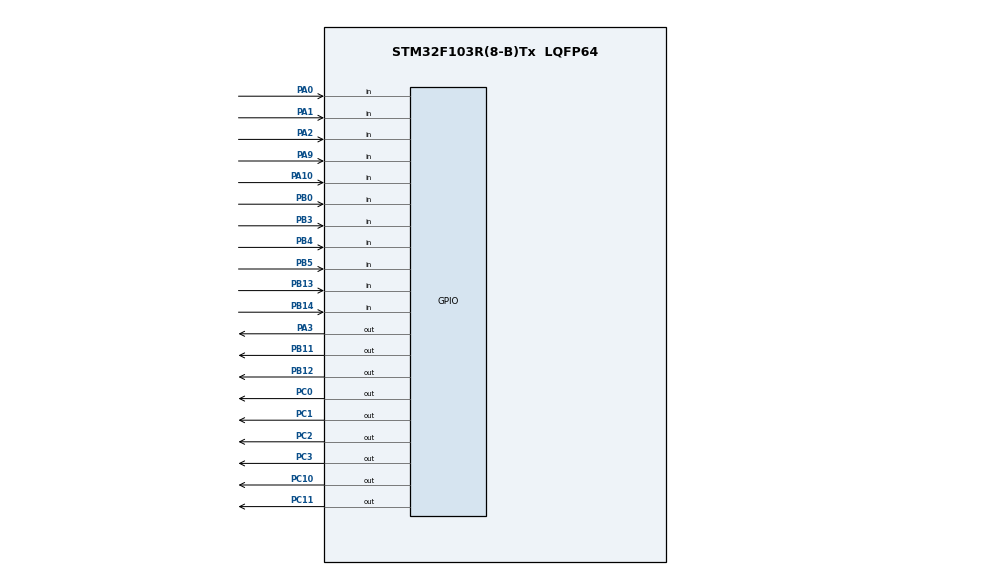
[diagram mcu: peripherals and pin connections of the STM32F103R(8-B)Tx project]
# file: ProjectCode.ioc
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Mcu.Family=STM32F1
FREERTOS.Queues01=motionToMovement,3,uint16_t,0,Dynamic,NULL,NULL;movementToleds,16,uint16_t,0,Dynamic,NULL,NULL
FREERTOS.Tasks01=detectMotion,24,128,StartdetectMotion,Default,NULL,Dynamic,NULL,NULL;RobotMovement,24,128,StartRobotMovement,Default,NULL,Dynamic,NULL,NULL;LedsandBuzzer,24,128,StartLedsandBuzzer,Default,NULL,Dynamic,NULL,NULL
PC10.Signal=GPIO_Output
PC11.Signal=GPIO_Output
PC2.Signal=GPIO_Output
NVIC.TIM1_UP_IRQn=true\:0\:0\:false\:false\:true\:false\:false\:true
PC0.Signal=GPIO_Output
PB11.Signal=GPIO_Output
PB13.Signal=GPIO_Input
VP_SYS_VS_ND.Mode=No_Debug
ProjectManager.StackSize=0x400
PA0-WKUP.Signal=GPIO_Input
VP_FREERTOS_VS_CMSIS_V2.Mode=CMSIS_V2
ProjectManager.TargetToolchain=STM32CubeIDE
PA9.Signal=GPIO_Input
PC3.Signal=GPIO_Output
PA1.Signal=GPIO_Input
PB14.Signal=GPIO_Input
board=custom
RCC.APB2Freq_Value=8000000
VP_SYS_VS_tim1.Mode=TIM1
Mcu.Name=STM32F103R(8-B)Tx
PA2.Signal=GPIO_Input
PB3.Signal=GPIO_Input
Mcu.Package=LQFP64
PB5.Signal=GPIO_Input
NVIC.TimeBase=TIM1_UP_IRQn
NVIC.TimeBaseIP=TIM1
PA10.Signal=GPIO_Input
ProjectManager.HeapSize=0x200
NVIC.PriorityGroup=NVIC_PRIORITYGROUP_4
RCC.APB1Freq_Value=8000000
PB0.Signal=GPIO_Input
PC1.Signal=GPIO_Output
PB12.Signal=GPIO_Output
PB4.Signal=GPIO_Input
PA3.Signal=GPIO_Output

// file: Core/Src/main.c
/* USER CODE BEGIN Header */
/**
 ******************************************************************************
 * @file           : main.c
 * @brief          : Main program body
 ******************************************************************************
 * @attention
 *
 * <h2><center>&copy; Copyright (c) 2021 STMicroelectronics.
 * All rights reserved.</center></h2>
 *
 * This software component is licensed by ST under BSD 3-Clause license,
 * the "License"; You may not use this file except in compliance with the
 * License. You may obtain a copy of the License at:
 *                        opensource.org/licenses/BSD-3-Clause
 *
 ******************************************************************************
 */
/* USER CODE END Header */
#include "main.h"
#include "cmsis_os.h"

/* Definitions for detectMotion */
osThreadId_t detectMotionHandle;
const osThreadAttr_t detectMotion_attributes = {
  .name = "detectMotion",
  .stack_size = 128 * 4,
  .priority = (osPriority_t) osPriorityNormal,
};
/* Definitions for RobotMovement */
osThreadId_t RobotMovementHandle;
const osThreadAttr_t RobotMovement_attributes = {
  .name = "RobotMovement",
  .stack_size = 128 * 4,
  .priority = (osPriority_t) osPriorityNormal,
};
/* Definitions for LedsandBuzzer */
osThreadId_t LedsandBuzzerHandle;
const osThreadAttr_t LedsandBuzzer_attributes = {
  .name = "LedsandBuzzer",
  .stack_size = 128 * 4,
  .priority = (osPriority_t) osPriorityNormal,
};
/* Definitions for motionToMovement */
osMessageQueueId_t motionToMovementHandle;
const osMessageQueueAttr_t motionToMovement_attributes = {
  .name = "motionToMovement"
};
/* Definitions for movementToleds */
osMessageQueueId_t movementToledsHandle;
const osMessageQueueAttr_t movementToleds_attributes = {
  .name = "movementToleds"
};
/* USER CODE BEGIN PV */
//monitiors the state of the motion sensors
//0 - sensors have not been activated
//1 - sensors have been activated
uint8_t mtnSnsrsState = 0.01;
/* USER CODE END PV */

void SystemClock_Config(void);
static void MX_GPIO_Init(void);
void StartdetectMotion(void *argument);
void StartRobotMovement(void *argument);
void StartLedsandBuzzer(void *argument);

/* USER CODE BEGIN PFP */
void MotorsL_Fw(void);
void MotorsL_Rv(void);
void MotorsR_Fw(void);
void MotorsR_Rv(void);
void Motors_Stp(void);
void Delay(uint32_t count);

uint16_t ultraSonicF(void);
uint16_t ultraSonicR(void);
uint16_t ultraSonicL(void);
uint16_t ultraSonicB(void);

int state = 1;//shows the state the robot is in
// 1 default state robot waits 5 minutes before turning on light
// 2 Robot can move
// 3 Robot stops to check surroundings

int turning = 0;//used to show is the robot is turning

const uint32_t motorDelay = 0.01;

/* USER CODE END PFP */

int main(void)
{

  /* MCU Configuration--------------------------------------------------------*/

  /* Reset of all peripherals, Initializes the Flash interface and the Systick. */
  HAL_Init();

  /* Configure the system clock */
  SystemClock_Config();

  /* Initialize all configured peripherals */
  MX_GPIO_Init();

  /* Init scheduler */
  osKernelInitialize();

  /* Create the queue(s) */
  /* creation of motionToMovement */
  motionToMovementHandle = osMessageQueueNew (3, sizeof(uint16_t), &motionToMovement_attributes);

  /* creation of movementToleds */
  movementToledsHandle = osMessageQueueNew (16, sizeof(uint16_t), &movementToleds_attributes);

  /* Create the thread(s) */
  /* creation of detectMotion */
  detectMotionHandle = osThreadNew(StartdetectMotion, NULL, &detectMotion_attributes);

  /* creation of RobotMovement */
  RobotMovementHandle = osThreadNew(StartRobotMovement, NULL, &RobotMovement_attributes);

  /* creation of LedsandBuzzer */
  LedsandBuzzerHandle = osThreadNew(StartLedsandBuzzer, NULL, &LedsandBuzzer_attributes);

  /* Start scheduler */
  osKernelStart();

  /* We should never get here as control is now taken by the scheduler */
  /* Infinite loop */
	while (1) {

	}
}

void SystemClock_Config(void)
{
  RCC_OscInitTypeDef RCC_OscInitStruct = {0};
  RCC_ClkInitTypeDef RCC_ClkInitStruct = {0};

  /** Initializes the RCC Oscillators according to the specified parameters
  * in the RCC_OscInitTypeDef structure.
  */
  RCC_OscInitStruct.OscillatorType = RCC_OSCILLATORTYPE_HSI;
  RCC_OscInitStruct.HSIState = RCC_HSI_ON;
  RCC_OscInitStruct.HSICalibrationValue = RCC_HSICALIBRATION_DEFAULT;
  RCC_OscInitStruct.PLL.PLLState = RCC_PLL_NONE;
  if (HAL_RCC_OscConfig(&RCC_OscInitStruct) != HAL_OK)
  {
    Error_Handler();
  }
  /** Initializes the CPU, AHB and APB buses clocks
  */
  RCC_ClkInitStruct.ClockType = RCC_CLOCKTYPE_HCLK|RCC_CLOCKTYPE_SYSCLK
                              |RCC_CLOCKTYPE_PCLK1|RCC_CLOCKTYPE_PCLK2;
  RCC_ClkInitStruct.SYSCLKSource = RCC_SYSCLKSOURCE_HSI;
  RCC_ClkInitStruct.AHBCLKDivider = RCC_SYSCLK_DIV1;
  RCC_ClkInitStruct.APB1CLKDivider = RCC_HCLK_DIV1;
  RCC_ClkInitStruct.APB2CLKDivider = RCC_HCLK_DIV1;

  if (HAL_RCC_ClockConfig(&RCC_ClkInitStruct, FLASH_LATENCY_0) != HAL_OK)
  {
    Error_Handler();
  }
}

static void MX_GPIO_Init(void)
{
  GPIO_InitTypeDef GPIO_InitStruct = {0};

  /* GPIO Ports Clock Enable */
  __HAL_RCC_GPIOC_CLK_ENABLE();
  __HAL_RCC_GPIOA_CLK_ENABLE();
  __HAL_RCC_GPIOB_CLK_ENABLE();

  /*Configure GPIO pin Output Level */
  HAL_GPIO_WritePin(GPIOC, GPIO_PIN_0|GPIO_PIN_1|GPIO_PIN_2|GPIO_PIN_3
                          |GPIO_PIN_10|GPIO_PIN_11, GPIO_PIN_RESET);

  /*Configure GPIO pin Output Level */
  HAL_GPIO_WritePin(GPIOA, GPIO_PIN_3, GPIO_PIN_RESET);

  /*Configure GPIO pin Output Level */
  HAL_GPIO_WritePin(GPIOB, GPIO_PIN_11|GPIO_PIN_12, GPIO_PIN_RESET);

  /*Configure GPIO pins : PC0 PC1 PC2 PC3
                           PC10 PC11 */
  GPIO_InitStruct.Pin = GPIO_PIN_0|GPIO_PIN_1|GPIO_PIN_2|GPIO_PIN_3
                          |GPIO_PIN_10|GPIO_PIN_11;
  GPIO_InitStruct.Mode = GPIO_MODE_OUTPUT_PP;
  GPIO_InitStruct.Pull = GPIO_NOPULL;
  GPIO_InitStruct.Speed = GPIO_SPEED_FREQ_LOW;
  HAL_GPIO_Init(GPIOC, &GPIO_InitStruct);

  /*Configure GPIO pins : PA0 PA1 PA2 PA9
                           PA10 */
  GPIO_InitStruct.Pin = GPIO_PIN_0|GPIO_PIN_1|GPIO_PIN_2|GPIO_PIN_9
                          |GPIO_PIN_10;
  GPIO_InitStruct.Mode = GPIO_MODE_INPUT;
  GPIO_InitStruct.Pull = GPIO_NOPULL;
  HAL_GPIO_Init(GPIOA, &GPIO_InitStruct);

  /*Configure GPIO pin : PA3 */
  GPIO_InitStruct.Pin = GPIO_PIN_3;
  GPIO_InitStruct.Mode = GPIO_MODE_OUTPUT_PP;
  GPIO_InitStruct.Pull = GPIO_NOPULL;
  GPIO_InitStruct.Speed = GPIO_SPEED_FREQ_LOW;
  HAL_GPIO_Init(GPIOA, &GPIO_InitStruct);

  /*Configure GPIO pins : PB0 PB13 PB14 PB3
                           PB4 PB5 */
  GPIO_InitStruct.Pin = GPIO_PIN_0|GPIO_PIN_13|GPIO_PIN_14|GPIO_PIN_3
                          |GPIO_PIN_4|GPIO_PIN_5;
  GPIO_InitStruct.Mode = GPIO_MODE_INPUT;
  GPIO_InitStruct.Pull = GPIO_NOPULL;
  HAL_GPIO_Init(GPIOB, &GPIO_InitStruct);

  /*Configure GPIO pins : PB11 PB12 */
  GPIO_InitStruct.Pin = GPIO_PIN_11|GPIO_PIN_12;
  GPIO_InitStruct.Mode = GPIO_MODE_OUTPUT_PP;
  GPIO_InitStruct.Pull = GPIO_NOPULL;
  GPIO_InitStruct.Speed = GPIO_SPEED_FREQ_LOW;
  HAL_GPIO_Init(GPIOB, &GPIO_InitStruct);

}

/* USER CODE BEGIN 4 */
void Delay(uint32_t count) {
	for (int i = 0; i < count; i++) {

	}
}
void MotorsL_Rv(void) {
	HAL_GPIO_WritePin(GPIOC, GPIO_PIN_10, GPIO_PIN_SET);
	HAL_GPIO_WritePin(GPIOB, GPIO_PIN_11, GPIO_PIN_SET);
	HAL_GPIO_WritePin(GPIOB, GPIO_PIN_11, GPIO_PIN_RESET);
	osDelay(motorDelay);
}
void MotorsL_Fw(void) {
	HAL_GPIO_WritePin(GPIOC, GPIO_PIN_10, GPIO_PIN_RESET);
	HAL_GPIO_WritePin(GPIOB, GPIO_PIN_11, GPIO_PIN_SET);
	HAL_GPIO_WritePin(GPIOB, GPIO_PIN_11, GPIO_PIN_RESET);
	osDelay(motorDelay);
}
void MotorsR_Fw(void) {
	HAL_GPIO_WritePin(GPIOC, GPIO_PIN_11, GPIO_PIN_SET);
	HAL_GPIO_WritePin(GPIOB, GPIO_PIN_12, GPIO_PIN_SET);
	HAL_GPIO_WritePin(GPIOB, GPIO_PIN_12, GPIO_PIN_RESET);
	osDelay(motorDelay);
}
void MotorsR_Rv(void) {
	HAL_GPIO_WritePin(GPIOC, GPIO_PIN_11, GPIO_PIN_RESET);
	HAL_GPIO_WritePin(GPIOB, GPIO_PIN_12, GPIO_PIN_SET);
	HAL_GPIO_WritePin(GPIOB, GPIO_PIN_12, GPIO_PIN_RESET);
	osDelay(motorDelay);
}
void Motors_Stp(void) {
	HAL_GPIO_WritePin(GPIOB, GPIO_PIN_11, GPIO_PIN_SET);
	HAL_GPIO_WritePin(GPIOB, GPIO_PIN_12, GPIO_PIN_RESET);
}
uint16_t ultraSonicF() {
	uint8_t status = 0;
	uint32_t distance = 0;

	HAL_GPIO_WritePin(GPIOC, GPIO_PIN_0, GPIO_PIN_SET);
	HAL_Delay(0.001);
	HAL_GPIO_WritePin(GPIOC, GPIO_PIN_0, GPIO_PIN_RESET);
	HAL_Delay(1);

	if (HAL_GPIO_ReadPin(GPIOB, GPIO_PIN_4)) {
		status = 1;
	}
	while (status == 1) {
		HAL_Delay(10);
		if (HAL_GPIO_ReadPin(GPIOB, GPIO_PIN_4)) {
			distance++;
		} else {
			status = 0;
		}
	}
	return (distance);
}
uint16_t ultraSonicR() {
	uint8_t status = 0;
	uint32_t distance = 0;

	HAL_GPIO_WritePin(GPIOC, GPIO_PIN_1, GPIO_PIN_SET);
	HAL_Delay(0.001);
	HAL_GPIO_WritePin(GPIOC, GPIO_PIN_1, GPIO_PIN_RESET);
	HAL_Delay(1);

	if (HAL_GPIO_ReadPin(GPIOB, GPIO_PIN_5)) {
		status = 1;
	}
	while (status == 1) {
		HAL_Delay(10);
		if (HAL_GPIO_ReadPin(GPIOB, GPIO_PIN_5)) {
			distance++;
		} else {
			status = 0;
		}
	}
	return (distance);
}
uint16_t ultraSonicL() {
	uint8_t status = 0;
	uint32_t distance = 0;

	HAL_GPIO_WritePin(GPIOC, GPIO_PIN_2, GPIO_PIN_SET);
	HAL_Delay(0.001);
	HAL_GPIO_WritePin(GPIOC, GPIO_PIN_2, GPIO_PIN_RESET);
	HAL_Delay(1);

	if (HAL_GPIO_ReadPin(GPIOB, GPIO_PIN_14)) {
		status = 1;
	}
	while (status == 1) {
		HAL_Delay(10);
		if (HAL_GPIO_ReadPin(GPIOC, GPIO_PIN_14)) {
			distance++;
		} else {
			status = 0;
		}
	}
	return (distance);
}
uint16_t ultraSonicB() {
	uint8_t status = 0;
	uint32_t distance = 0;

	HAL_GPIO_WritePin(GPIOC, GPIO_PIN_3, GPIO_PIN_SET);
	HAL_Delay(0.001);
	HAL_GPIO_WritePin(GPIOC, GPIO_PIN_3, GPIO_PIN_RESET);
	HAL_Delay(1);

	if (HAL_GPIO_ReadPin(GPIOB, GPIO_PIN_13)) {
		status = 1;
	}
	while (status == 1) {
		HAL_Delay(10);
		if (HAL_GPIO_ReadPin(GPIOC, GPIO_PIN_13)) {
			distance++;
		} else {
			status = 0;
		}
	}
	return (distance);
}
/* USER CODE END 4 */

void StartdetectMotion(void *argument)
{
  /* USER CODE BEGIN 5 */
	/* Infinite loop */
	for (;;) {
		if (state == 1) {
			osDelay(5000);
			state = 2;
		} else if(state==3){
			if ((HAL_GPIO_ReadPin(GPIOA, GPIO_PIN_9))) {
				//osDelay(2000);
				state = 1;
			} else {
				state = 2;
			}
		}
		osDelay(1);
	}
  /* USER CODE END 5 */
}

void StartRobotMovement(void *argument)
{
  /* USER CODE BEGIN StartRobotMovement */
	/* Infinite loop */
	for (;;) {
		if(state==2)
		{
		MotorsL_Fw();
		MotorsR_Fw();
		}
		osDelay(1);
	}
  /* USER CODE END StartRobotMovement */
}

void StartLedsandBuzzer(void *argument)
{
  /* USER CODE BEGIN StartLedsandBuzzer */
	/* Infinite loop */
	for (;;) {
		if(state==2)
		{
			osDelay(10000);
			state=3;
		}
		else if (state==3)
		{
			osDelay(5000);
			state=2;
		}

		osDelay(1);
	}
  /* USER CODE END StartLedsandBuzzer */
}

 /**
  * @brief  Period elapsed callback in non blocking mode
  * @note   This function is called  when TIM1 interrupt took place, inside
  * HAL_TIM_IRQHandler(). It makes a direct call to HAL_IncTick() to increment
  * a global variable "uwTick" used as application time base.
  * @param  htim : TIM handle
  * @retval None
  */
void HAL_TIM_PeriodElapsedCallback(TIM_HandleTypeDef *htim)
{
  if (htim->Instance == TIM1) {
    HAL_IncTick();
  }
}

void Error_Handler(void)
{
	__disable_irq();
	while (1) {
	}
}

/************************ (C) COPYRIGHT STMicroelectronics *****END OF FILE****/
